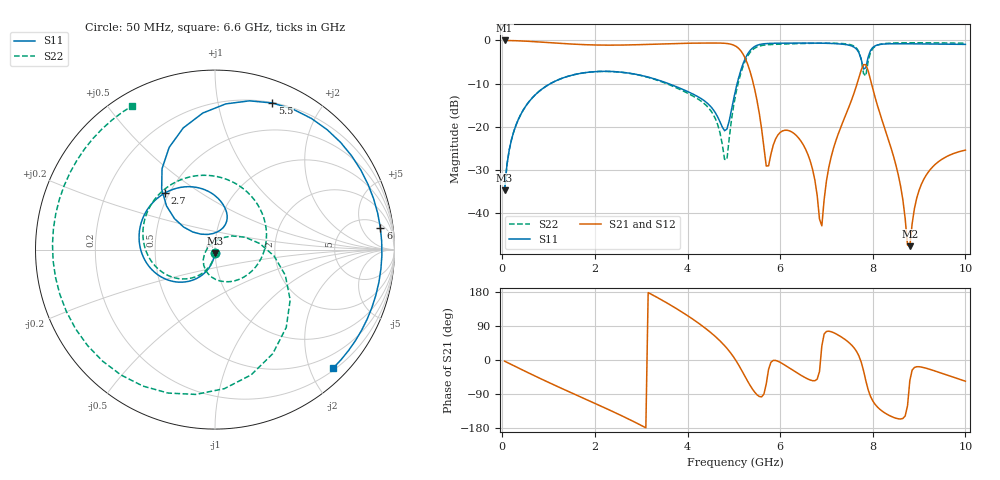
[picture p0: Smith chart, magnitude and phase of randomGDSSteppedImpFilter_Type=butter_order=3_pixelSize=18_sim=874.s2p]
! freq	dB(S11)	phase(S11)	dB(S12)	phase(S12)
!  dB(S21)	phase(S21)	dB(S22)	phase(S22)
!S-par simulation data
#  GHz  S  DB  R 50
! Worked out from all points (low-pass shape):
!   200 points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, 50 MHz to 10 GHz, reference 50 ohm
!   highest |S21| = -0.01 dB at 50 MHz (marker M1); lowest = -47.6 dB at 8.8 GHz (marker M2)
!   |S21| within 3 dB of the highest: start of sweep to 5.189 GHz
!   lowest |S11| = -34.7 dB at 50 MHz (marker M3), VSWR 1.04, Z = 49.9 - j1.82 ohm
!   |S11| at or under -10 dB: start of sweep to 1.038 GHz; 3.589 GHz to 5.072 GHz (1.483 GHz wide, 34.3 % of centre)
!   |S22| runs from -34.7 to -0.5 dB; largest |S21 - S12| = 0
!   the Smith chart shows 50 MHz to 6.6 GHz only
!   S11 on the Smith chart (normalised r, x): 50 MHz: 1.00, -0.04; 2.7 GHz: 0.47, +0.36; 5.5 GHz: 0.20, +1.44; 6 GHz: 6, +12; 6.6 GHz: 0.24, -2.38
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0.05  -34.74 -93.4  -0.01 -3.1  -0.01 -3.1  -34.74 -93.7
0.5  -15.31 -119.1  -0.16 -30.1  -0.16 -30.1  -15.31 -122.6
1.75  -7.52 176.2  -0.97 -100.8  -0.97 -100.8  -7.52 161.1
2.7  -7.51 131.5  -1.05 -154.3  -1.05 -154.3  -7.54 99.4
3.4  -9.29 101.1  -0.82 161.3  -0.82 161.3  -9.41 42.1
4.4  -14.29 69.4  -0.61 82.3  -0.61 82.3  -15.01 -80.4
4.85  -20.53 116.1  -0.71 30.9  -0.71 30.9  -27.59 104.1
5.05  -10.93 142.6  -1.39 -2.4  -1.39 -2.4  -11.96 7.7
5.25  -4.10 114.2  -4.23 -45.3  -4.23 -45.3  -4.61 -47.5
5.5  -1.14 68.7  -13.89 -91.7  -13.89 -91.7  -1.51 -108.1
5.7  -0.72 40.4  -29.08 -63.2  -29.08 -63.2  -1.02 -143.1
6  -0.64 7.5  -21.30 -6.2  -21.30 -6.2  -0.86 178.1
6.6  -0.61 -45.2  -26.43 -50.2  -26.43 -50.2  -0.68 119.9
6.7  -0.61 -53.1  -29.83 -54.6  -29.83 -54.6  -0.66 111.4
6.9  -0.64 -68.3  -42.92 37.0  -42.92 37.0  -0.63 94.9
7.6  -1.58 -123.0  -12.05 31.4  -12.05 31.4  -1.35 34.7
7.8  -6.62 -130.3  -5.61 -28.0  -5.61 -28.0  -7.64 19.1
7.95  -2.35 -109.5  -9.06 -95.7  -9.06 -95.7  -2.80 53.8
8.35  -0.78 -144.7  -23.37 -145.9  -23.37 -145.9  -0.64 15.3
8.8  -0.78 -170.5  -47.63 -54.5  -47.63 -54.5  -0.54 -11.0
9.15  -0.82 171.4  -31.25 -21.6  -31.25 -21.6  -0.54 -28.2
10  -0.91 129.4  -25.40 -55.9  -25.40 -55.9  -0.65 -64.2
